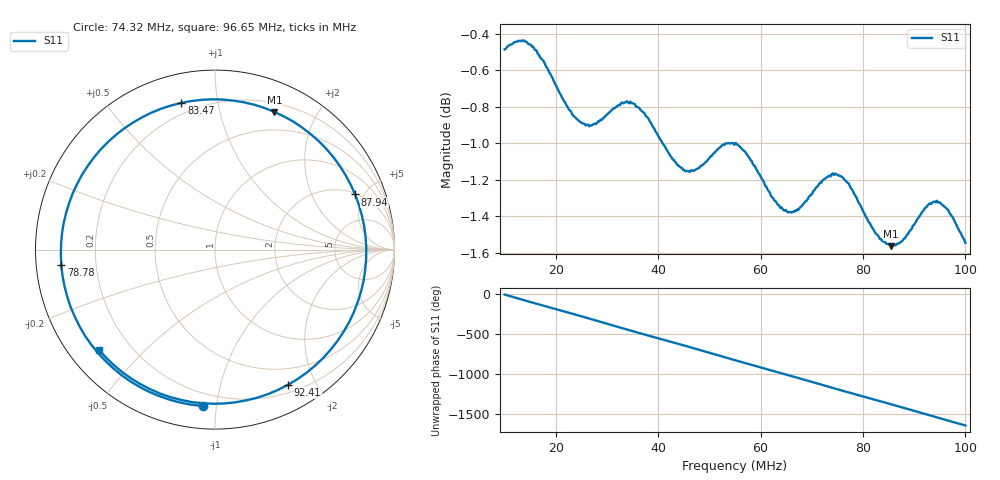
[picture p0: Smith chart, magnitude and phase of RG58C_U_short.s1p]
# HZ S RI R 50
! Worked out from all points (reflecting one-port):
!   404 points, 10 MHz to 100 MHz, reference 50 ohm
!   lowest |S11| = -1.6 dB at 85.48 MHz (marker M1), VSWR 11.13, Z = 14.6 + j74 ohm
!   phase of S11 starts at -4 deg and turns -1634 deg over the sweep
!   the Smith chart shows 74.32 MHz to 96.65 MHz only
!   S11 on the Smith chart (normalised r, x): 74.32 MHz: 0.12, -0.92; 78.78 MHz: 0.07, -0.05; 83.47 MHz: 0.14, +0.79; 87.94 MHz: 2.08, +4.31; 92.41 MHz: 0.29, -1.64; 96.65 MHz: 0.09, -0.37
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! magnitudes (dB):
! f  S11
! 10 MHz  -0.5
! 13.13 MHz  -0.4
! 15.36 MHz  -0.5
! 17.82 MHz  -0.6
! 21.39 MHz  -0.8
! 23.62 MHz  -0.9
! 26.3 MHz  -0.9
! 32.56 MHz  -0.8
! 35.01 MHz  -0.8
! 36.8 MHz  -0.8
! 43.95 MHz  -1.1
! 47.3 MHz  -1.1
! 52.66 MHz  -1.0
! 55.11 MHz  -1.0
! 57.34 MHz  -1.1
! 63.37 MHz  -1.3
! 66.28 MHz  -1.4
! 74.32 MHz  -1.2
! 77.67 MHz  -1.2
! 78.78 MHz  -1.3
! 83.47 MHz  -1.5
! 85.48 MHz  -1.6
! 87.94 MHz  -1.5
! 88.83 MHz  -1.5
! 92.41 MHz  -1.4
! 94.42 MHz  -1.3
! 96.65 MHz  -1.4
! 100 MHz  -1.5
